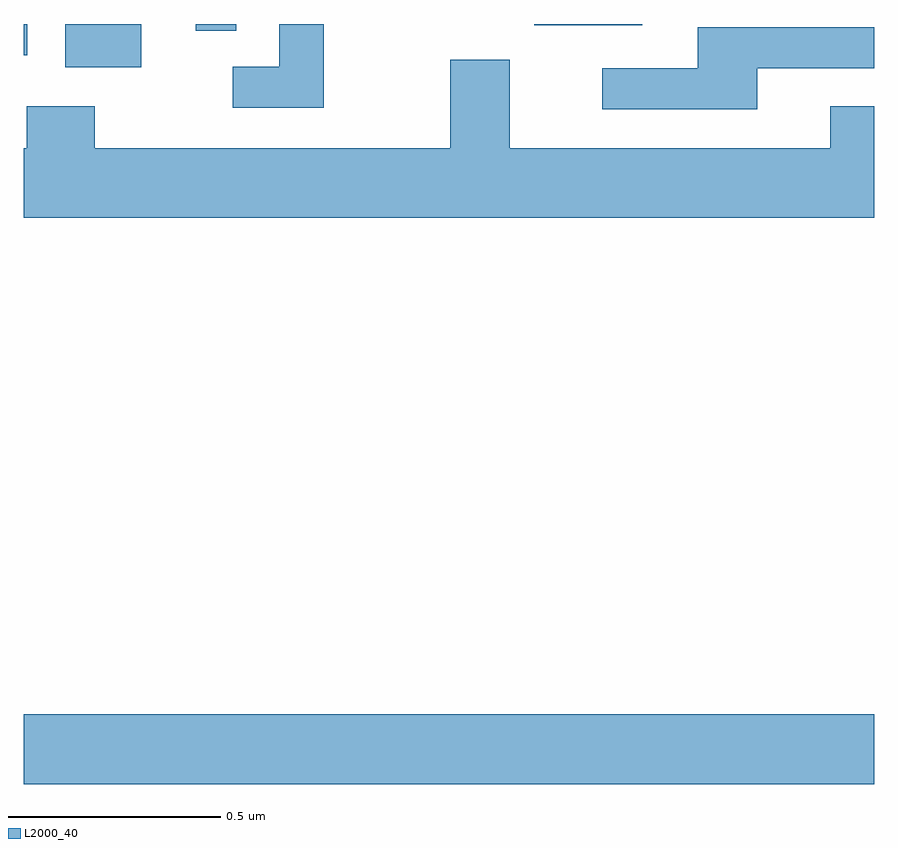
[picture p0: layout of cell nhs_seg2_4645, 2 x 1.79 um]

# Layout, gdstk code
import gdstk
lib = gdstk.Library(unit=1e-6, precision=1e-09)
def R(c, l, rs):  # rectangles x0, y0, x1, y1
    for r in rs: c.add(gdstk.rectangle(r[:2], r[2:], *l))
def P(c, l, *ps):  # polygons
    for p in ps: c.add(gdstk.Polygon(p, *l))
L2000_40 = (2000, 40)

nhs_seg2_4645 = lib.new_cell('nhs_seg2_4645')
R(nhs_seg2_4645, L2000_40, [(169,605.012,171,605.176), (169.097,606.698,169.276,606.8), (169,606.727,169.008,606.8), (169.404,606.784,169.5,606.8), (170.201,606.797,170.455,606.8)])
P(nhs_seg2_4645, L2000_40, [(169.705,606.8),(169.601,606.8),(169.601,606.699),(169.491,606.699),(169.491,606.603),(169.705,606.603)],
  [(170.725,606.696),(171,606.696),(171,606.792),(170.585,606.792),(170.585,606.696),(170.361,606.696),(170.361,606.6),(170.725,606.6)],
  [(171,606.607),(170.897,606.607),(170.897,606.508),(170.143,606.508),(170.143,606.716),(170.003,606.716),(170.003,606.508),(169.167,606.508),(169.167,606.607),(169.007,606.607),(169.007,606.508),(169,606.508),(169,606.344),(171,606.344)])

lib.write_gds('nhs_seg2_4645.gds')
